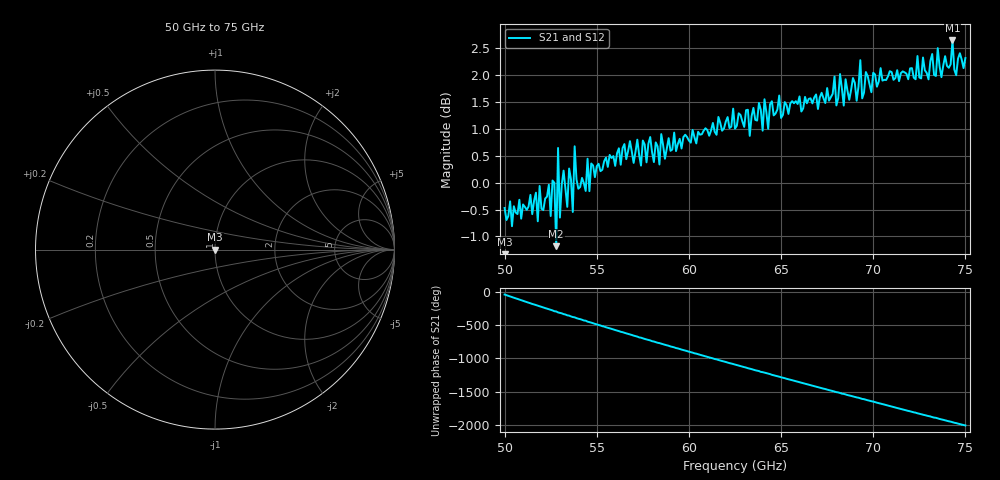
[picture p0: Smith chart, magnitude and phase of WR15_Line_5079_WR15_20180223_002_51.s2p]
# GHZ S RI R 50
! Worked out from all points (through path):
!   251 points, 50 GHz to 75 GHz, reference 50 ohm
!   highest |S21| = 2.64 dB at 74.3 GHz (marker M1); lowest = -1.2 dB at 52.8 GHz (marker M2)
!   lowest |S11| = - dB at 50 GHz (marker M3), VSWR 1.00, Z = 50 + j2.25e-15 ohm
!   |S11| at or under -10 dB: start of sweep to end of sweep
!   |S22| runs from - to - dB; largest |S21 - S12| = 1e-14
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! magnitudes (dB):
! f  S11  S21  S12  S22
! 50 GHz  -  -0.5  -0.5  -
! 51.8 GHz  -  -0.7  -0.7  -
! 52.4 GHz  -  0.0  0.0  -
! 52.5 GHz  -  -0.6  -0.6  -
! 52.6 GHz  -  0.0  0.0  -
! 52.7 GHz  -  0.0  0.0  -
! 52.8 GHz  -  -1.2  -1.2  -
! 52.9 GHz  -  0.6  0.6  -
! 53 GHz  -  -0.6  -0.6  -
! 53.2 GHz  -  0.2  0.2  -
! 53.7 GHz  -  -0.5  -0.5  -
! 53.8 GHz  -  0.7  0.7  -
! 54.2 GHz  -  0.1  0.1  -
! 58.4 GHz  -  0.3  0.3  -
! 58.5 GHz  -  0.9  0.9  -
! 62.5 GHz  -  1.0  1.0  -
! 66.7 GHz  -  1.5  1.5  -
! 70.9 GHz  -  2.1  2.1  -
! 73.7 GHz  -  2.0  2.0  -
! 74.3 GHz  -  2.6  2.6  -
! 74.5 GHz  -  2.0  2.0  -
! 75 GHz  -  2.3  2.3  -
